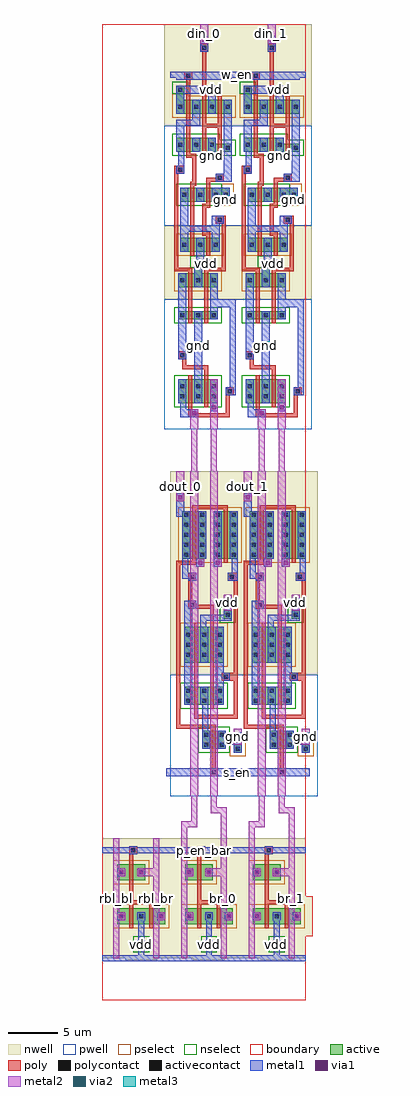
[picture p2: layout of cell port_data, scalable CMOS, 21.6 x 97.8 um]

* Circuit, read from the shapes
.subckt port_data bl_0 bl_1 br_0 br_1 din_0 din_1 dout_0 dout_1 gnd p_en_bar rbl_bl rbl_br s_en vdd w_en
M1 n1 w_en n2 gnd nfet w=1.4u l=0.4u
M2 gnd n3 bl_0 gnd nfet w=2.4u l=0.4u
M3 gnd n2 n4 gnd nfet w=0.8u l=0.4u
M4 n5 w_en n6 gnd nfet w=1.4u l=0.4u
M5 n7 n8 dout_0 gnd nfet w=1.8u l=0.4u
M6 gnd din_0 n1 gnd nfet w=1.4u l=0.4u
M7 br_0 n4 gnd gnd nfet w=2.4u l=0.4u
M8 n3 n6 gnd gnd nfet w=0.8u l=0.4u
M9 gnd n9 n5 gnd nfet w=1.4u l=0.4u
M10 n8 dout_0 n7 gnd nfet w=1.8u l=0.4u
M11 gnd s_en n7 gnd nfet w=1.8u l=0.4u
M12 n9 din_0 gnd gnd nfet w=0.8u l=0.4u
M13 n10 w_en n11 gnd nfet w=1.4u l=0.4u
M14 gnd n12 bl_1 gnd nfet w=2.4u l=0.4u
M15 gnd n11 n13 gnd nfet w=0.8u l=0.4u
M16 n14 w_en n15 gnd nfet w=1.4u l=0.4u
M17 n16 n17 dout_1 gnd nfet w=1.8u l=0.4u
M18 gnd din_1 n10 gnd nfet w=1.4u l=0.4u
M19 br_1 n13 gnd gnd nfet w=2.4u l=0.4u
M20 n12 n15 gnd gnd nfet w=0.8u l=0.4u
M21 gnd n18 n14 gnd nfet w=1.4u l=0.4u
M22 n17 dout_1 n16 gnd nfet w=1.8u l=0.4u
M23 gnd s_en n16 gnd nfet w=1.8u l=0.4u
M24 n18 din_1 gnd gnd nfet w=0.8u l=0.4u
M25 vdd p_en_bar rbl_bl vdd pfet w=1.6u l=0.4u
M26 rbl_br p_en_bar rbl_bl vdd pfet w=1.6u l=0.4u
M27 rbl_br p_en_bar vdd vdd pfet w=1.6u l=0.4u
M28 n2 w_en vdd vdd pfet w=1.4u l=0.4u
M29 vdd n2 n4 vdd pfet w=1.4u l=0.4u
M30 vdd w_en n6 vdd pfet w=1.4u l=0.4u
M31 bl_0 s_en dout_0 vdd pfet w=4.8u l=0.4u
M32 vdd n8 dout_0 vdd pfet w=3.6u l=0.4u
M33 vdd p_en_bar bl_0 vdd pfet w=1.6u l=0.4u
M34 br_0 p_en_bar bl_0 vdd pfet w=1.6u l=0.4u
M35 vdd din_0 n2 vdd pfet w=1.4u l=0.4u
M36 n3 n6 vdd vdd pfet w=1.4u l=0.4u
M37 n6 n9 vdd vdd pfet w=1.4u l=0.4u
M38 n8 dout_0 vdd vdd pfet w=3.6u l=0.4u
M39 br_0 p_en_bar vdd vdd pfet w=1.6u l=0.4u
M40 n9 din_0 vdd vdd pfet w=1.4u l=0.4u
M41 n8 s_en br_0 vdd pfet w=4.8u l=0.4u
M42 n11 w_en vdd vdd pfet w=1.4u l=0.4u
M43 vdd n11 n13 vdd pfet w=1.4u l=0.4u
M44 vdd w_en n15 vdd pfet w=1.4u l=0.4u
M45 bl_1 s_en dout_1 vdd pfet w=4.8u l=0.4u
M46 vdd n17 dout_1 vdd pfet w=3.6u l=0.4u
M47 vdd p_en_bar bl_1 vdd pfet w=1.6u l=0.4u
M48 br_1 p_en_bar bl_1 vdd pfet w=1.6u l=0.4u
M49 vdd din_1 n11 vdd pfet w=1.4u l=0.4u
M50 n12 n15 vdd vdd pfet w=1.4u l=0.4u
M51 n15 n18 vdd vdd pfet w=1.4u l=0.4u
M52 n17 dout_1 vdd vdd pfet w=3.6u l=0.4u
M53 br_1 p_en_bar vdd vdd pfet w=1.6u l=0.4u
M54 n18 din_1 vdd vdd pfet w=1.4u l=0.4u
M55 n17 s_en br_1 vdd pfet w=4.8u l=0.4u
.ends

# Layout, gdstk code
import gdstk
lib = gdstk.Library(unit=1e-6, precision=1e-09)
def R(c, l, rs):  # rectangles x0, y0, x1, y1
    for r in rs: c.add(gdstk.rectangle(r[:2], r[2:], *l))
def A(c, l, x, y, w, h, nx, ny, dx, dy):  # array of equal rectangles
    R(c, l, [(x+i*dx, y+j*dy, x+i*dx+w, y+j*dy+h) for i in range(nx) for j in range(ny)])
pwell = (41, 0)
nwell = (42, 0)
active = (43, 0)
pselect = (44, 0)
nselect = (45, 0)
poly = (46, 0)
polycontact = (47, 0)
activecontact = (48, 0)
metal1 = (49, 0)
via1 = (50, 0)
metal2 = (51, 0)
via2 = (61, 0)
metal3 = (62, 0)
boundary = (63, 0)

contact_9 = lib.new_cell('contact_9')
R(contact_9, nwell, [(-1.2,-1.2,2,2)])
R(contact_9, active, [(0,0,0.8,0.8)])
R(contact_9, pselect, [(-0.4,-0.4,1.2,1.2)])
R(contact_9, activecontact, [(0.2,0.2,0.6,0.6)])
R(contact_9, metal1, [(0,0,0.8,0.8)])
R(contact_9, boundary, [(-1.2,-1.2,2,2)])

pmos_m1_w1_600_sm1_dm1 = lib.new_cell('pmos_m1_w1_600_sm1_dm1')
R(pmos_m1_w1_600_sm1_dm1, nwell, [(-1.2,-1.2,4,2.8)])
R(pmos_m1_w1_600_sm1_dm1, active, [(0,0,2.8,1.6)])
R(pmos_m1_w1_600_sm1_dm1, pselect, [(-0.4,-0.4,3.2,2)])
R(pmos_m1_w1_600_sm1_dm1, poly, [(1.2,-0.4,1.6,2), (1.2,-0.4,1.6,2)])
R(pmos_m1_w1_600_sm1_dm1, metal1, [(0,0.4,0.8,1.2), (2,0.4,2.8,1.2)])
R(pmos_m1_w1_600_sm1_dm1, boundary, [(-1.2,-1.2,4,2.8)])
pmos_m1_w1_600_sm1_dm1.add(gdstk.Reference(contact_9, (0,0.4)))
pmos_m1_w1_600_sm1_dm1.add(gdstk.Reference(contact_9, (2,0.4)))
pmos_m1_w1_600_sm1_dm1.add(gdstk.Label('G', (1.4,0.8), layer=46, texttype=0))
pmos_m1_w1_600_sm1_dm1.add(gdstk.Label('S', (0.4,0.8), layer=49, texttype=0))
pmos_m1_w1_600_sm1_dm1.add(gdstk.Label('D', (2.4,0.8), layer=49, texttype=0))

contact_10 = lib.new_cell('contact_10')
R(contact_10, poly, [(0,0,0.8,0.8)])
R(contact_10, polycontact, [(0.2,0.2,0.6,0.6)])
R(contact_10, metal1, [(0,0,0.8,0.8)])
R(contact_10, boundary, [(0,0,0.8,0.8)])

contact_11 = lib.new_cell('contact_11')
R(contact_11, nwell, [(-1.2,-1.2,2,2)])
R(contact_11, active, [(0,0,0.8,0.8)])
R(contact_11, nselect, [(-0.4,-0.4,1.2,1.2)])
R(contact_11, activecontact, [(0.2,0.2,0.6,0.6)])
R(contact_11, metal1, [(0,0,0.8,0.8)])
R(contact_11, boundary, [(-1.2,-1.2,2,2)])

contact_6 = lib.new_cell('contact_6')
R(contact_6, metal1, [(0,0,0.8,0.8)])
R(contact_6, via1, [(0.2,0.2,0.6,0.6)])
R(contact_6, metal2, [(0,0,0.8,0.8)])
R(contact_6, boundary, [(0,0,0.8,0.8)])

contact_12 = lib.new_cell('contact_12')
R(contact_12, metal1, [(0,0,0.8,0.8)])
R(contact_12, via1, [(0.2,0.2,0.6,0.6)])
R(contact_12, metal2, [(0,0,0.8,0.8)])
R(contact_12, boundary, [(0,0,0.8,0.8)])

contact_13 = lib.new_cell('contact_13')
R(contact_13, metal2, [(0,0,0.8,0.8)])
R(contact_13, via2, [(0.2,0.2,0.6,0.6)])
R(contact_13, metal3, [(0,0,0.8,0.8)])
R(contact_13, boundary, [(0,0,0.8,0.8)])

precharge_0 = lib.new_cell('precharge_0')
R(precharge_0, nwell, [(0,0,6.8,12)])
R(precharge_0, poly, [(2.7,1,3.1,1.4), (2.9,1,3.1,1.4), (2.7,1.2,3.1,2.2), (2.7,4.6,3.1,6.6), (2.7,6.2,5.1,6.6)])
R(precharge_0, metal1, [(0,0.9,6.8,1.5), (3.6,7.5,4.2,8.1), (3.6,7.8,4.2,12), (0,11.7,6.8,12.3)])
R(precharge_0, metal2, [(1.1,0,1.7,12), (1.1,0,1.7,12), (5.1,0,5.7,12), (5.1,0,5.7,12), (1.4,3,1.9,3.8), (3.9,3,5.4,3.8), (1.4,7.4,1.9,8.2), (5.4,7.4,5.9,8.2)])
R(precharge_0, metal3, [(3.5,10.2,4.3,11)])
R(precharge_0, boundary, [(0,0,6.8,12)])
precharge_0.add(gdstk.Reference(pmos_m1_w1_600_sm1_dm1, (1.5,2.6)))
precharge_0.add(gdstk.Reference(pmos_m1_w1_600_sm1_dm1, (1.5,7)))
precharge_0.add(gdstk.Reference(pmos_m1_w1_600_sm1_dm1, (3.5,7)))
precharge_0.add(gdstk.Reference(contact_10, (2.7,0.8)))
precharge_0.add(gdstk.Reference(contact_11, (3.5,10.2)))
precharge_0.add(gdstk.Reference(contact_6, (3.5,10.2)))
precharge_0.add(gdstk.Reference(contact_12, (3.5,10.2)))
precharge_0.add(gdstk.Reference(contact_13, (3.5,10.2)))
precharge_0.add(gdstk.Reference(contact_12, (1.5,3)))
precharge_0.add(gdstk.Reference(contact_12, (3.5,3)))
precharge_0.add(gdstk.Reference(contact_12, (1.5,7.4)))
precharge_0.add(gdstk.Reference(contact_12, (5.5,7.4)))
precharge_0.add(gdstk.Label('en_bar', (3.4,1.2), layer=49, texttype=0))
precharge_0.add(gdstk.Label('vdd', (3.9,10.6), layer=62, texttype=0))
precharge_0.add(gdstk.Label('bl', (1.4,6), layer=51, texttype=0))
precharge_0.add(gdstk.Label('br', (5.4,6), layer=51, texttype=0))

precharge_array = lib.new_cell('precharge_array')
A(precharge_array, metal1, 3.1, 0.9, 0.6, 0.6, 3, 1, 6.8, 0)
R(precharge_array, metal1, [(0,0.9,20.4,1.5)])
R(precharge_array, metal2, [(1.1,0,1.7,12), (5.1,0,5.7,12), (7.9,0,8.5,12), (11.9,0,12.5,12), (14.7,0,15.3,12), (18.7,0,19.3,12)])
A(precharge_array, metal3, 3.5, 10.2, 0.8, 0.8, 3, 1, 6.8, 0)
R(precharge_array, boundary, [(0,0,20.4,12)])
precharge_array.add(gdstk.Reference(precharge_0, (0,0)))
precharge_array.add(gdstk.Reference(precharge_0, (6.8,0)))
precharge_array.add(gdstk.Reference(precharge_0, (13.6,0)))
precharge_array.add(gdstk.Label('en_bar', (10.2,1.2), layer=49, texttype=0))
precharge_array.add(gdstk.Label('vdd', (10.7,10.6), layer=62, texttype=0))
precharge_array.add(gdstk.Label('vdd', (3.9,10.6), layer=62, texttype=0))
precharge_array.add(gdstk.Label('vdd', (17.5,10.6), layer=62, texttype=0))
precharge_array.add(gdstk.Label('bl_0', (1.4,6), layer=51, texttype=0))
precharge_array.add(gdstk.Label('br_0', (5.4,6), layer=51, texttype=0))
precharge_array.add(gdstk.Label('bl_1', (8.2,6), layer=51, texttype=0))
precharge_array.add(gdstk.Label('br_1', (12.2,6), layer=51, texttype=0))
precharge_array.add(gdstk.Label('bl_2', (15,6), layer=51, texttype=0))
precharge_array.add(gdstk.Label('br_2', (19,6), layer=51, texttype=0))

sense_amp = lib.new_cell('sense_amp')
R(sense_amp, pwell, [(0,20.4,8,32.6)])
R(sense_amp, nwell, [(0,0,8,20.4)])
R(sense_amp, active, [(1.2,4,3.6,8.8), (4.4,4,6.8,8.8), (5.4,14,6.2,14.8), (1.4,15.6,5.4,19.2), (1.4,21.6,5.4,23.4), (3.2,26,5.6,27.8), (6.4,27.4,7.2,28.2)])
R(sense_amp, pselect, [(0.8,3.6,7.2,9.2), (1,15.2,5.8,19.6), (6,27,7.6,28.6)])
R(sense_amp, nselect, [(5,13.6,6.6,15.2), (1,21.2,5.8,23.8), (2.8,25.6,6,28.2)])
R(sense_amp, poly, [(2.2,3.4,5.8,3.8), (2.2,3.8,2.6,9), (5.4,3.8,5.8,9.2), (0.6,9,2.6,9.4), (0.6,9.4,1,25.4), (1.8,10.2,2.6,11), (5.8,10.2,6.8,11), (1.8,11,2.2,13), (6.4,11,6.8,20.2), (1.8,13,2.6,13.4), (1.8,13.4,4.4,13.8), (4,13.8,4.4,23.8), (2.4,15.2,2.8,24.4), (5.2,20.2,6.8,21), (6.4,21,6.8,24.4), (2.4,24.4,6.8,24.8), (0.6,25.4,4.6,25.8), (4.2,25.8,4.6,29.8), (4,29.8,4.8,30.6)])
R(sense_amp, polycontact, [(2,10.4,2.4,10.8), (6,10.4,6.4,10.8), (2,13.2,2.4,13.6), (5.4,20.4,5.8,20.8), (4.2,30,4.6,30.4)])
A(sense_amp, activecontact, 1.4, 4.2, 0.4, 0.4, 4, 5, 1.6, 1)
A(sense_amp, activecontact, 1.6, 16.2, 0.4, 0.4, 3, 3, 1.6, 1)
A(sense_amp, activecontact, 1.6, 21.8, 0.4, 0.4, 3, 2, 1.6, 1)
R(sense_amp, activecontact, [(5.6,14.2,6,14.6), (3.4,26.2,3.8,26.6), (5,26.2,5.4,26.6), (3.4,27.2,3.8,27.6), (5,27.2,5.4,27.6), (6.6,27.6,7,28)])
R(sense_amp, metal1, [(0.6,2.2,1.4,4), (0.6,4,2,4.6), (2.8,4,3.6,8.8), (4.4,4,5.2,9.6), (6,4,6.8,8.8), (1.2,4.6,2,8.8), (1.2,8.8,1.8,10.2), (2.6,8.8,3.4,9.6), (6.2,8.8,6.8,10.2), (1.2,10.2,2.6,10.8), (5.8,10.2,6.8,11), (1.8,10.8,2.6,11), (1.4,13,2.6,13.8), (5.4,13.2,6.2,14.4), (1.4,13.8,2.2,23.4), (3,14.4,6.2,15), (3,15,3.6,15.6), (3,15.6,3.8,19.2), (4.6,15.6,5.4,20.2), (4.6,20.2,6,21), (4.6,21,5.4,23.4), (3,21.6,3.8,23.4), (3.2,23.4,3.8,26), (3.2,26,4,27.8), (4.8,26,5.6,26.6), (4.8,26.6,7.2,27.4), (4.8,27.4,5.6,27.8), (6.4,27.4,7.2,28.2), (-0.4,29.8,7.2,30.6), (-0.4,29.8,7.2,30.6)])
R(sense_amp, via1, [(0.8,2.4,1.2,2.8), (2.8,9,3.2,9.4), (4.6,9,5,9.4), (5.6,13.4,6,13.8), (6.6,26.8,7,27.2)])
R(sense_amp, metal2, [(0.6,0,1.4,3), (0.6,0,1.4,3), (2,0,2.8,8.8), (4,0,4.8,8.8), (2,8.8,3.4,9.6), (4,8.8,5.2,9.6), (2,9.6,2.8,32.6), (2,9.6,2.8,32.6), (4,9.6,4.8,32.6), (4,9.6,4.8,32.6), (5.4,12.4,6.2,14), (5.4,12.4,6.2,14), (6.4,25.8,7.2,27.4), (6.4,25.8,7.2,27.4)])
R(sense_amp, boundary, [(0,0,6.8,32.6)])
sense_amp.add(gdstk.Label('en', (0,29.8), layer=49, texttype=0))
sense_amp.add(gdstk.Label('gnd', (6.8,26.2), layer=51, texttype=0))
sense_amp.add(gdstk.Label('vdd', (5.8,12.8), layer=51, texttype=0))
sense_amp.add(gdstk.Label('bl', (2.4,32.2), layer=51, texttype=0))
sense_amp.add(gdstk.Label('br', (4.4,32.2), layer=51, texttype=0))
sense_amp.add(gdstk.Label('dout', (1,0.6), layer=51, texttype=0))
sense_amp.add(gdstk.Label('bl', (2.4,21.1), layer=51, texttype=0))
sense_amp.add(gdstk.Label('br', (4.4,21.1), layer=51, texttype=0))
sense_amp.add(gdstk.Label('dout', (1,1.5), layer=51, texttype=0))
sense_amp.add(gdstk.Label('en', (3.4,30.2), layer=49, texttype=0))
sense_amp.add(gdstk.Label('vdd', (5.8,13.2), layer=51, texttype=0))
sense_amp.add(gdstk.Label('gnd', (6.8,26.6), layer=51, texttype=0))

sense_amp_array = lib.new_cell('sense_amp_array')
R(sense_amp_array, metal1, [(0,29.9,13.6,30.5), (3.1,29.9,3.7,30.5), (9.9,29.9,10.5,30.5)])
R(sense_amp_array, metal2, [(0.6,0,1.4,3), (7.4,0,8.2,3), (2,9.6,2.8,32.6), (4,9.6,4.8,32.6), (8.8,9.6,9.6,32.6), (10.8,9.6,11.6,32.6)])
R(sense_amp_array, metal3, [(5.4,12.8,6.2,13.6), (12.2,12.8,13,13.6), (6.4,26.2,7.2,27), (13.2,26.2,14,27)])
R(sense_amp_array, boundary, [(0,0,13.6,32.6)])
sense_amp_array.add(gdstk.Reference(sense_amp, (0,0)))
sense_amp_array.add(gdstk.Reference(sense_amp, (6.8,0)))
sense_amp_array.add(gdstk.Reference(contact_13, (6.4,26.2)))
sense_amp_array.add(gdstk.Reference(contact_13, (5.4,12.8)))
sense_amp_array.add(gdstk.Reference(contact_13, (13.2,26.2)))
sense_amp_array.add(gdstk.Reference(contact_13, (12.2,12.8)))
sense_amp_array.add(gdstk.Label('gnd', (6.8,26.6), layer=62, texttype=0))
sense_amp_array.add(gdstk.Label('gnd', (13.6,26.6), layer=62, texttype=0))
sense_amp_array.add(gdstk.Label('vdd', (5.8,13.2), layer=62, texttype=0))
sense_amp_array.add(gdstk.Label('vdd', (12.6,13.2), layer=62, texttype=0))
sense_amp_array.add(gdstk.Label('bl_0', (2.4,21.1), layer=51, texttype=0))
sense_amp_array.add(gdstk.Label('br_0', (4.4,21.1), layer=51, texttype=0))
sense_amp_array.add(gdstk.Label('data_0', (1,1.5), layer=51, texttype=0))
sense_amp_array.add(gdstk.Label('bl_1', (9.2,21.1), layer=51, texttype=0))
sense_amp_array.add(gdstk.Label('br_1', (11.2,21.1), layer=51, texttype=0))
sense_amp_array.add(gdstk.Label('data_1', (7.8,1.5), layer=51, texttype=0))
sense_amp_array.add(gdstk.Label('en', (6.8,30.2), layer=49, texttype=0))

write_driver = lib.new_cell('write_driver')
R(write_driver, pwell, [(-0.6,10.2,7.4,20.2), (-0.6,27.6,7.4,40.6)])
R(write_driver, nwell, [(-0.6,0,7.4,10.2), (-0.6,20.2,7.4,27.6)])
R(write_driver, active, [(0.6,6.2,1.4,7.6), (0.6,7.6,6.2,9), (0.6,11.4,4.6,12), (0.6,12,6.2,12.8), (1,16.4,6,17.8), (1,21.4,5,22.8), (2.4,23.6,3.2,25), (0.8,25,4.8,26.4), (0.8,28.8,4.8,29.6), (0.8,35.6,4.8,38)])
R(write_driver, pselect, [(0.2,7,1.8,7.2), (0.2,7.2,6.6,9.4), (5.2,16,6.4,18.2), (0.6,21,5.4,23.2), (2,24.4,3.6,24.6), (0.4,24.6,5.2,26.8)])
R(write_driver, nselect, [(0.2,5.8,1.8,7), (0.2,11,5,11.6), (0.2,11.6,6.6,13.2), (0.6,16,5.2,18.2), (2,23.2,3.6,24.4), (0.4,28.4,5.2,30), (0.4,35.2,5.2,38.4)])
R(write_driver, poly, [(3,2,3.8,2.8), (3.2,2.8,3.6,10), (1.4,4.8,2.2,5.6), (1.6,5.6,2,13), (4.8,7.2,5.2,10), (3.2,10,5.2,10.4), (3.2,10.4,3.6,13.2), (4.8,10.4,5.2,13.2), (1.6,13,2.6,13.4), (2.2,13.4,2.6,15.8), (0.4,14.2,1.4,15), (0.4,15,0.8,24.4), (4.6,15,5.4,15.4), (3.6,15.4,5.4,15.8), (2,15.8,2.6,16.2), (3.6,15.8,4,18), (2,16.2,2.4,23.2), (3.2,18,4,18.4), (3.2,18.4,3.6,20.8), (4.6,19.2,5.6,20), (5.2,20,5.6,24.4), (3.2,20.8,4,21.2), (3.6,21.2,4,23.2), (0.4,24.4,2.2,24.8), (3.4,24.4,5.6,24.8), (1.8,24.8,2.2,30), (3.4,24.8,3.8,30), (0.8,32.8,1.6,33.6), (1.2,33.6,1.6,34.2), (1.2,34.2,3.8,34.6), (3.4,34.6,3.8,38.4), (1.8,35.2,2.2,39), (5.6,36.4,6.4,37.2), (5.6,37.2,6,39), (1.8,39,6,39.4)])
R(write_driver, polycontact, [(3.2,2.2,3.6,2.6), (1.6,5,2,5.4), (0.8,14.4,1.2,14.8), (4.8,15.2,5.2,15.6), (4.8,19.4,5.2,19.8), (1,33,1.4,33.4), (5.8,36.6,6.2,37)])
A(write_driver, activecontact, 0.8, 8.1, 0.4, 0.4, 4, 1, 1.6, 0)
A(write_driver, activecontact, 0.8, 11.9, 0.4, 0.4, 3, 1, 1.6, 0)
A(write_driver, activecontact, 1.2, 16.9, 0.4, 0.4, 3, 2, 1.6, 5)
A(write_driver, activecontact, 1, 25.5, 0.4, 0.4, 3, 2, 1.6, 3.5)
A(write_driver, activecontact, 1, 36.1, 0.4, 0.4, 3, 2, 1.6, 1)
R(write_driver, activecontact, [(0.8,6.4,1.2,6.8), (5.6,12.2,6,12.6), (5.4,16.9,5.8,17.3), (2.6,23.8,3,24.2)])
R(write_driver, metal1, [(3,1.2,3.8,2.8), (0.6,4.8,6.2,5.6), (0.6,4.8,6.2,5.6), (0.6,6.2,4.6,7), (0.6,7,1.4,9), (3.8,7,4.6,9), (2.2,7.6,3,9.6), (5.4,7.6,6.2,15), (0.6,9.6,3,10.2), (0.6,10.2,1.4,12.8), (2.2,11.4,3,12.8), (3.8,11.4,4.6,13.6), (0.8,12.8,1.4,14.2), (0.6,14.2,1.4,15), (4.6,15,6.2,15.8), (1,16.4,1.8,20.2), (2.6,16.4,3.4,17.8), (4.2,16.4,6,17.8), (5,17.8,6,18), (4.2,19.2,5.4,20), (4.2,20,5,20.2), (1,20.2,5,20.8), (1,20.8,1.8,22.8), (4.2,20.8,5,22.8), (2.6,21.4,3.4,23.6), (2.4,23.6,4,24.4), (2.4,24.4,3.2,26.4), (0.8,25,1.6,33.6), (4,25,4.8,27.6), (4,27.6,6.6,28.4), (4,28.4,4.8,29.6), (6,28.4,6.6,36.4), (2.4,28.8,3.2,38), (0.8,35.6,1.6,38), (4,35.6,4.8,38.8), (5.6,36.4,6.6,37.2), (1,38,1.6,38.6), (1,38.6,2.8,39.4)])
R(write_driver, via1, [(3.2,1.4,3.6,1.8), (4,6.4,4.4,6.8), (4,13,4.4,13.4), (5.4,17.4,5.8,17.8), (3.4,23.8,3.8,24.2), (2.6,32,3,32.4), (4.2,38.2,4.6,38.6), (2.2,38.8,2.6,39.2)])
R(write_driver, metal2, [(3,0,3.8,2), (3,0,3.8,2), (3.8,6.2,4.6,7), (3.8,6.2,4.6,7), (3.8,12.8,4.6,13.6), (3.8,12.8,4.6,13.6), (5.2,17.2,6,18), (5.2,17.2,6,18), (3.2,23.6,4,24.4), (3.2,23.6,4,24.4), (2.4,31.8,3.2,32.6), (2.4,31.8,3.2,32.6), (4,35.6,4.8,40.6), (4,35.6,4.8,40.6), (2,38.6,2.8,40.6), (2,38.6,2.8,40.6)])
R(write_driver, boundary, [(0,0,6.8,40.6)])
write_driver.add(gdstk.Label('din', (3,0.2), layer=51, texttype=0))
write_driver.add(gdstk.Label('gnd', (4.2,13.2), layer=51, texttype=0))
write_driver.add(gdstk.Label('gnd', (5.6,17.6), layer=51, texttype=0))
write_driver.add(gdstk.Label('vdd', (4.2,6.6), layer=51, texttype=0))
write_driver.add(gdstk.Label('vdd', (3.6,24), layer=51, texttype=0))
write_driver.add(gdstk.Label('bl', (2.4,40.2), layer=51, texttype=0))
write_driver.add(gdstk.Label('br', (4.4,40.2), layer=51, texttype=0))
write_driver.add(gdstk.Label('gnd', (2.8,32.2), layer=51, texttype=0))
write_driver.add(gdstk.Label('en', (3.4,5.2), layer=49, texttype=0))
write_driver.add(gdstk.Label('din', (3.4,1), layer=51, texttype=0))
write_driver.add(gdstk.Label('bl', (2.4,39.6), layer=51, texttype=0))
write_driver.add(gdstk.Label('br', (4.4,38.1), layer=51, texttype=0))
write_driver.add(gdstk.Label('en', (3.4,5.2), layer=49, texttype=0))
write_driver.add(gdstk.Label('vdd', (4.2,6.6), layer=51, texttype=0))
write_driver.add(gdstk.Label('vdd', (3.6,24), layer=51, texttype=0))
write_driver.add(gdstk.Label('gnd', (4.2,13.2), layer=51, texttype=0))
write_driver.add(gdstk.Label('gnd', (5.6,17.6), layer=51, texttype=0))
write_driver.add(gdstk.Label('gnd', (2.8,32.2), layer=51, texttype=0))

write_driver_array = lib.new_cell('write_driver_array')
R(write_driver_array, metal1, [(0,4.8,13.6,5.4)])
R(write_driver_array, metal2, [(3,0,3.8,2), (9.8,0,10.6,2), (4,35.6,4.8,40.6), (10.8,35.6,11.6,40.6), (2,38.6,2.8,40.6), (8.8,38.6,9.6,40.6)])
R(write_driver_array, metal3, [(3.8,6.2,4.6,7), (10.6,6.2,11.4,7), (3.8,12.8,4.6,13.6), (10.6,12.8,11.4,13.6), (5.2,17.2,6,18), (12,17.2,12.8,18), (3.2,23.6,4,24.4), (10,23.6,10.8,24.4), (2.4,31.8,3.2,32.6), (9.2,31.8,10,32.6)])
R(write_driver_array, boundary, [(0,0,13.6,40.6)])
write_driver_array.add(gdstk.Reference(write_driver, (0,0)))
write_driver_array.add(gdstk.Reference(write_driver, (6.8,0)))
write_driver_array.add(gdstk.Reference(contact_13, (3.8,6.2)))
write_driver_array.add(gdstk.Reference(contact_13, (3.2,23.6)))
write_driver_array.add(gdstk.Reference(contact_13, (3.8,12.8)))
write_driver_array.add(gdstk.Reference(contact_13, (5.2,17.2)))
write_driver_array.add(gdstk.Reference(contact_13, (2.4,31.8)))
write_driver_array.add(gdstk.Reference(contact_13, (10.6,6.2)))
write_driver_array.add(gdstk.Reference(contact_13, (10,23.6)))
write_driver_array.add(gdstk.Reference(contact_13, (10.6,12.8)))
write_driver_array.add(gdstk.Reference(contact_13, (12,17.2)))
write_driver_array.add(gdstk.Reference(contact_13, (9.2,31.8)))
write_driver_array.add(gdstk.Label('data_0', (3.4,1), layer=51, texttype=0))
write_driver_array.add(gdstk.Label('bl_0', (2.4,39.6), layer=51, texttype=0))
write_driver_array.add(gdstk.Label('br_0', (4.4,38.1), layer=51, texttype=0))
write_driver_array.add(gdstk.Label('vdd', (10.4,24), layer=62, texttype=0))
write_driver_array.add(gdstk.Label('vdd', (11,6.6), layer=62, texttype=0))
write_driver_array.add(gdstk.Label('vdd', (3.6,24), layer=62, texttype=0))
write_driver_array.add(gdstk.Label('vdd', (4.2,6.6), layer=62, texttype=0))
write_driver_array.add(gdstk.Label('gnd', (4.2,13.2), layer=62, texttype=0))
write_driver_array.add(gdstk.Label('gnd', (2.8,32.2), layer=62, texttype=0))
write_driver_array.add(gdstk.Label('gnd', (12.4,17.6), layer=62, texttype=0))
write_driver_array.add(gdstk.Label('gnd', (9.6,32.2), layer=62, texttype=0))
write_driver_array.add(gdstk.Label('gnd', (11,13.2), layer=62, texttype=0))
write_driver_array.add(gdstk.Label('gnd', (5.6,17.6), layer=62, texttype=0))
write_driver_array.add(gdstk.Label('data_1', (10.2,1), layer=51, texttype=0))
write_driver_array.add(gdstk.Label('bl_1', (9.2,39.6), layer=51, texttype=0))
write_driver_array.add(gdstk.Label('br_1', (11.2,38.1), layer=51, texttype=0))
write_driver_array.add(gdstk.Label('en', (6.8,5.1), layer=49, texttype=0))

cr_0 = lib.new_cell('cr_0')
R(cr_0, metal2, [(7.9,15.9,8.5,16.5), (11.9,15.9,12.5,16.5), (7.9,16.2,8.5,17.6), (7.9,16.2,8.5,17.6), (11.9,16.2,12.5,19), (11.9,16.2,12.5,19), (7.9,17.3,9.5,17.9), (8.9,17.6,9.5,20.4), (8.9,17.6,9.5,20.4), (10.9,18.7,12.5,19.3), (10.9,19,11.5,20.4), (10.9,19,11.5,20.4), (8.9,20.1,9.5,20.7), (10.9,20.1,11.5,20.7)])
R(cr_0, boundary, [(7.9,15.9,12.5,20.7)])

cr_1 = lib.new_cell('cr_1')
R(cr_1, metal2, [(14.7,15.9,15.3,16.5), (18.7,15.9,19.3,16.5), (14.7,16.2,15.3,17.6), (14.7,16.2,15.3,17.6), (18.7,16.2,19.3,19), (18.7,16.2,19.3,19), (14.7,17.3,16.3,17.9), (15.7,17.6,16.3,20.4), (15.7,17.6,16.3,20.4), (17.7,18.7,19.3,19.3), (17.7,19,18.3,20.4), (17.7,19,18.3,20.4), (15.7,20.1,16.3,20.7), (17.7,20.1,18.3,20.7)])
R(cr_1, boundary, [(14.7,15.9,19.3,20.7)])

port_data = lib.new_cell('port_data')
R(port_data, metal1, [(0,14.7,20.4,15.3), (6.8,22.5,20.4,23.1), (6.8,92.4,20.4,93)])
R(port_data, metal2, [(1.1,4.2,1.7,16.2), (5.1,4.2,5.7,16.2), (7.9,4.2,8.5,16.2), (11.9,4.2,12.5,16.2), (14.7,4.2,15.3,16.2), (18.7,4.2,19.3,16.2), (8.9,43.4,9.5,55.8), (10.9,43.4,11.5,54.4), (15.7,43.4,16.3,55.8), (17.7,43.4,18.3,54.4), (7.4,50,8.2,53), (14.2,50,15,53), (10.9,54.4,11.5,57.2), (17.7,54.4,18.3,57.2), (8.9,55.8,9.5,57.2), (15.7,55.8,16.3,57.2), (9.8,95.8,10.6,97.8), (16.6,95.8,17.4,97.8)])
A(port_data, metal3, 3.5, 5.2, 0.8, 0.8, 3, 1, 6.8, 0)
R(port_data, metal3, [(13.2,26,14,26.8), (20,26,20.8,26.8), (12.2,39.4,13,40.2), (19,39.4,19.8,40.2), (9.2,65.2,10,66), (16,65.2,16.8,66), (10,73.4,10.8,74.2), (16.8,73.4,17.6,74.2), (12,79.8,12.8,80.6), (18.8,79.8,19.6,80.6), (10.6,84.2,11.4,85), (17.4,84.2,18.2,85), (10.6,90.8,11.4,91.6), (17.4,90.8,18.2,91.6)])
R(port_data, boundary, [(0,0,20.4,97.8)])
port_data.add(gdstk.Reference(precharge_array, (0,16.2), x_reflection=True))
port_data.add(gdstk.Reference(sense_amp_array, (6.8,53), x_reflection=True))
port_data.add(gdstk.Reference(write_driver_array, (6.8,97.8), x_reflection=True))
port_data.add(gdstk.Reference(cr_0, (0,0)))
port_data.add(gdstk.Reference(cr_1, (0,0)))
port_data.add(gdstk.Label('din_0', (10.2,96.8), layer=51, texttype=0))
port_data.add(gdstk.Label('din_1', (17,96.8), layer=51, texttype=0))
port_data.add(gdstk.Label('dout_0', (7.8,51.5), layer=51, texttype=0))
port_data.add(gdstk.Label('dout_1', (14.6,51.5), layer=51, texttype=0))
port_data.add(gdstk.Label('rbl_bl', (1.4,10.2), layer=51, texttype=0))
port_data.add(gdstk.Label('rbl_br', (5.4,10.2), layer=51, texttype=0))
port_data.add(gdstk.Label('bl_0', (8.2,10.2), layer=51, texttype=0))
port_data.add(gdstk.Label('br_0', (12.2,10.2), layer=51, texttype=0))
port_data.add(gdstk.Label('bl_1', (15,10.2), layer=51, texttype=0))
port_data.add(gdstk.Label('br_1', (19,10.2), layer=51, texttype=0))
port_data.add(gdstk.Label('p_en_bar', (10.2,15), layer=49, texttype=0))
port_data.add(gdstk.Label('s_en', (13.6,22.8), layer=49, texttype=0))
port_data.add(gdstk.Label('w_en', (13.6,92.7), layer=49, texttype=0))
port_data.add(gdstk.Label('vdd', (10.7,5.6), layer=62, texttype=0))
port_data.add(gdstk.Label('vdd', (19.4,39.8), layer=62, texttype=0))
port_data.add(gdstk.Label('vdd', (10.4,73.8), layer=62, texttype=0))
port_data.add(gdstk.Label('vdd', (17.5,5.6), layer=62, texttype=0))
port_data.add(gdstk.Label('vdd', (11,91.2), layer=62, texttype=0))
port_data.add(gdstk.Label('vdd', (17.2,73.8), layer=62, texttype=0))
port_data.add(gdstk.Label('vdd', (3.9,5.6), layer=62, texttype=0))
port_data.add(gdstk.Label('vdd', (12.6,39.8), layer=62, texttype=0))
port_data.add(gdstk.Label('vdd', (17.8,91.2), layer=62, texttype=0))
port_data.add(gdstk.Label('gnd', (13.6,26.4), layer=62, texttype=0))
port_data.add(gdstk.Label('gnd', (9.6,65.6), layer=62, texttype=0))
port_data.add(gdstk.Label('gnd', (17.8,84.6), layer=62, texttype=0))
port_data.add(gdstk.Label('gnd', (11,84.6), layer=62, texttype=0))
port_data.add(gdstk.Label('gnd', (12.4,80.2), layer=62, texttype=0))
port_data.add(gdstk.Label('gnd', (16.4,65.6), layer=62, texttype=0))
port_data.add(gdstk.Label('gnd', (19.2,80.2), layer=62, texttype=0))
port_data.add(gdstk.Label('gnd', (20.4,26.4), layer=62, texttype=0))

lib.write_gds('port_data.gds')
